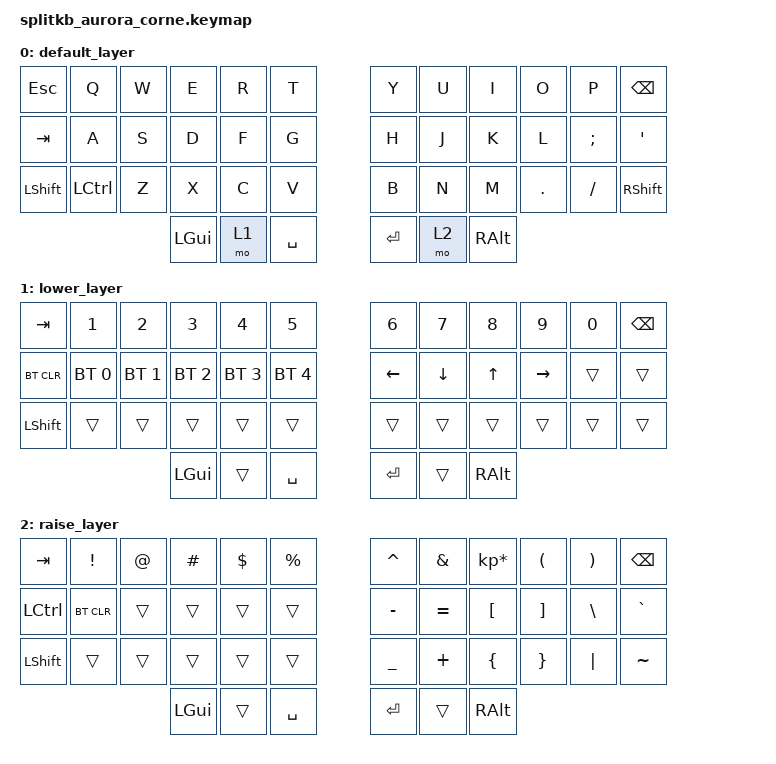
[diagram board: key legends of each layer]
/*
 * Copyright (c) 2020 The ZMK Contributors
 *
 * SPDX-License-Identifier: MIT
 */

#include <behaviors.dtsi>
#include <dt-bindings/zmk/keys.h>
#include <dt-bindings/zmk/bt.h>

/ {
        keymap {
                compatible = "zmk,keymap";

                default_layer {
// -----------------------------------------------------------------------------------------
// | Esc  |   Q   |  W  |  E  |  R  |  T  |   |  Y  |  U   |  I  |  O  |  P  | BKSP |
// | Tab  |   A   |  S  |  D  |  F  |  G  |   |  H  |  J   |  K  |  L  |  ;  |  '   |
// | SHFT |  CTRL |  Z  |  X  |  C  |  V  |   |  B  |  N   |  M  |  .  |  /  | SHFT |
//                      | GUI | LWR | SPC |   | ENT | RSE  | ALT |
                        bindings = <
   &kp ESC   &kp Q    &kp W &kp E    &kp R  &kp T       &kp Y   &kp U  &kp I     &kp O   &kp P    &kp BSPC
   &kp TAB   &kp A    &kp S &kp D    &kp F  &kp G       &kp H   &kp J  &kp K     &kp L   &kp SEMI &kp SQT
   &kp LSHFT &kp LCTRL &kp Z &kp X    &kp C  &kp V       &kp B   &kp N  &kp M     &kp DOT &kp FSLH &kp RSHFT
                            &kp LGUI &mo 1  &kp SPACE   &kp RET &mo 2  &kp RALT
                        >;
                };
                lower_layer {
// -----------------------------------------------------------------------------------------
// | ~ |  !  |  @  |  #  |  $  |  %  |   |  ^  |  &  |  *  |  (  |  )  | -/_ |
// | ` |  1  |  2  |  3  |  4  |  5  |   |  6  |  7  |  8  |  9  |  0  | =/+ |
// |   |     |     |     |     |     |   |     |  {  |  }  |  [  |  ]  | '\' / '|' |
//                    | GUI |     | SPC |   | ENT |     | ALT |
                        bindings = <
   &kp TAB    &kp N1       &kp N2       &kp N3       &kp N4       &kp N5         &kp N6   &kp N7   &kp N8 &kp N9    &kp N0 &kp BSPC
   &bt BT_CLR &bt BT_SEL 0 &bt BT_SEL 1 &bt BT_SEL 2 &bt BT_SEL 3 &bt BT_SEL 4   &kp LEFT &kp DOWN &kp UP &kp RIGHT &trans &trans
   &kp LSHFT  &trans       &trans       &trans       &trans       &trans         &trans   &trans   &trans &trans    &trans &trans
                                    &kp LGUI     &trans       &kp SPACE      &kp RET  &trans   &kp RALT
                        >;
                };

                raise_layer {
// -----------------------------------------------------------------------------------------
// |  TAB |       |     |     |     |     |   |     |     |     |     |     | BKSP |
// | CTRL | BTCLR | BT1 | BT2 | BT3 |     |   |  -  |  =  |  [  |  ]  |  \  |  `   |
// | SHFT |       |     |     |     |     |   |  _  |  +  |  {  |  }  | "|" |  ~   |
//                      | GUI |     | SPC |   | ENT |     | ALT |
                        bindings = <
   &kp  TAB  &kp EXCL &kp AT &kp HASH &kp DLLR &kp PRCNT   &kp CARET &kp AMPS  &kp KP_MULTIPLY &kp LPAR &kp RPAR &kp BSPC
   &kp LCTRL &bt BT_CLR   &trans &trans   &trans   &trans      &kp MINUS &kp EQUAL &kp LBKT        &kp RBKT &kp BSLH &kp GRAVE
   &kp LSHFT &trans   &trans &trans   &trans   &trans      &kp UNDER &kp PLUS  &kp LBRC        &kp RBRC &kp PIPE &kp TILDE
                             &kp LGUI &trans   &kp SPACE   &kp RET   &trans    &kp RALT
                >;
                };
        };
};
